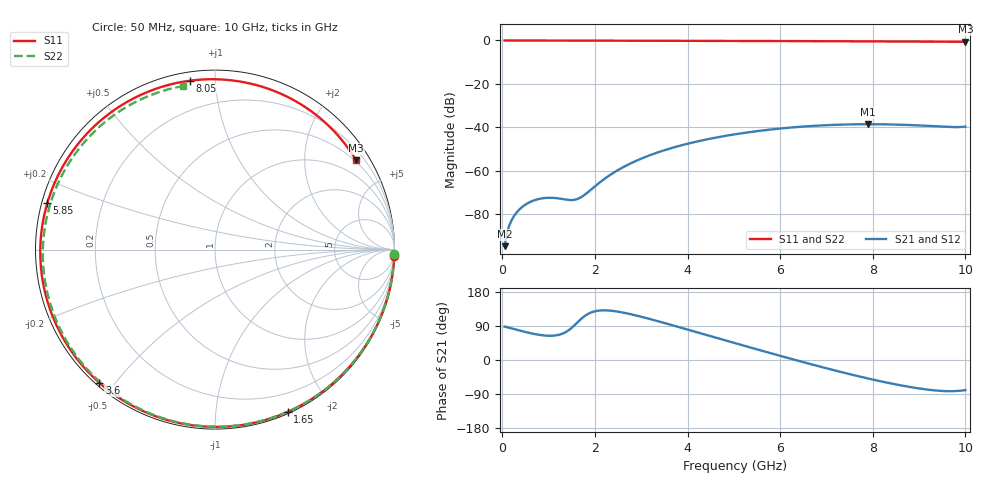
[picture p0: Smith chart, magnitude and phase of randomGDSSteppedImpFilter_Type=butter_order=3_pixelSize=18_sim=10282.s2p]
! freq	dB(S11)	phase(S11)	dB(S12)	phase(S12)
!  dB(S21)	phase(S21)	dB(S22)	phase(S22)
!S-par simulation data
#  GHz  S  DB  R 50
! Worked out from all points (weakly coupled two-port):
!   200 points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, 50 MHz to 10 GHz, reference 50 ohm
!   highest |S21| = -38.55 dB at 7.9 GHz (marker M1); lowest = -94.7 dB at 50 MHz (marker M2)
!   lowest |S11| = -0.6 dB at 10 GHz (marker M3), VSWR 27.73, Z = 23 + j170 ohm
!   |S11| at or under -10 dB: nowhere
!   |S22| runs from -0.6 to 0.0 dB; largest |S21 - S12| = 0
!   S11 on the Smith chart (normalised r, x): 50 MHz: 0, -55; 1.65 GHz: 0.02, -1.55; 3.6 GHz: 0.01, -0.46; 5.85 GHz: 0.02, +0.14; 8.05 GHz: 0.04, +0.86; 10 GHz: 0.46, +3.40
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0.05  -0.00 -2.1  -94.68 88.2  -94.68 88.2  -0.00 -1.4
0.25  -0.01 -10.4  -80.91 81.7  -80.91 81.7  -0.01 -6.9
0.5  -0.03 -20.7  -75.56 73.8  -75.56 73.8  -0.02 -13.8
0.8  -0.04 -32.8  -72.90 66.3  -72.90 66.3  -0.03 -22.0
1.05  -0.05 -42.8  -72.40 64.0  -72.40 64.0  -0.04 -28.8
1.5  -0.07 -60.2  -73.47 85.1  -73.47 85.1  -0.05 -40.9
1.65  -0.08 -65.8  -72.72 102.5  -72.72 102.5  -0.06 -44.9
1.75  -0.08 -69.5  -71.47 113.3  -71.47 113.3  -0.06 -47.5
2.5  -0.11 -95.9  -59.63 127.5  -59.63 127.5  -0.09 -66.9
2.9  -0.13 -109.1  -55.30 117.2  -55.30 117.2  -0.10 -77.0
3.4  -0.14 -124.8  -51.21 101.1  -51.21 101.1  -0.12 -89.4
3.6  -0.15 -130.9  -49.87 94.3  -49.87 94.3  -0.13 -94.2
4.35  -0.18 -153.0  -45.83 68.1  -45.83 68.1  -0.16 -112.1
5.05  -0.22 -172.8  -43.10 43.6  -43.10 43.6  -0.20 -128.5
5.85  -0.27 164.6  -40.86 16.1  -40.86 16.1  -0.25 -147.2
6.7  -0.33 140.1  -39.34 -12.2  -39.34 -12.2  -0.32 -167.4
7.35  -0.38 120.5  -38.72 -32.8  -38.72 -32.8  -0.38 176.6
7.9  -0.42 103.3  -38.55 -48.9  -38.55 -48.9  -0.43 162.4
8.05  -0.43 98.4  -38.56 -53.0  -38.56 -53.0  -0.45 158.4
8.35  -0.46 88.6  -38.65 -60.8  -38.65 -60.8  -0.48 150.3
9.15  -0.53 61.6  -39.27 -77.6  -39.27 -77.6  -0.56 127.5
10  -0.63 32.3  -39.65 -79.6  -39.65 -79.6  -0.65 101.1
